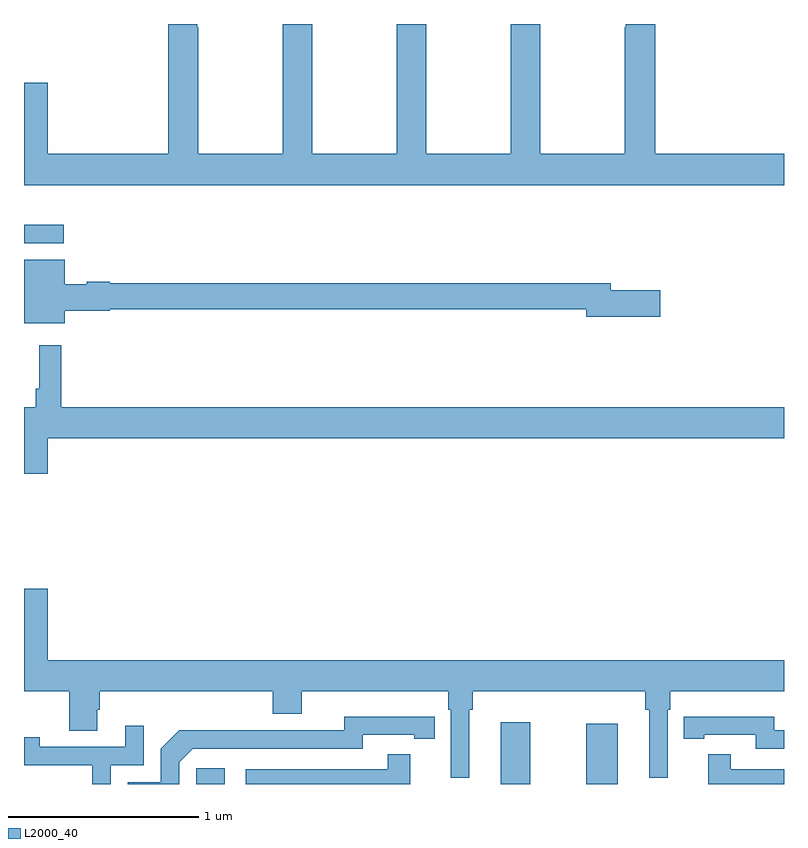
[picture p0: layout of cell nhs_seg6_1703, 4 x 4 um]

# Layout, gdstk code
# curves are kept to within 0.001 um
import gdstk
lib = gdstk.Library(unit=1e-6, precision=1e-09)
def R(c, l, rs):  # rectangles x0, y0, x1, y1
    for r in rs: c.add(gdstk.rectangle(r[:2], r[2:], *l))
def P(c, l, *ps):  # polygons
    for p in ps: c.add(gdstk.Polygon(p, *l))
L2000_40 = (2000, 40)

nhs_seg6_1703 = lib.new_cell('nhs_seg6_1703')
R(nhs_seg6_1703, L2000_40, [(213.906,961.5,214.057,961.582), (215.51,961.5,215.664,961.825), (215.96,961.5,216.124,961.816), (213,964.347,213.208,964.443)])
P(nhs_seg6_1703, L2000_40, [(217,964.816),(216.323,964.816),(216.323,965.5),(216.167,965.5),(216.167,965.483),(216.163,965.483),(216.163,964.816),(215.718,964.816),(215.718,965.5),(215.563,965.5),(215.563,964.816),(215.118,964.816),(215.118,965.5),(214.963,965.5),(214.963,964.816),(214.518,964.816),(214.518,965.5),(214.363,965.5),(214.363,964.816),(213.918,964.816),(213.918,965.483),(213.913,965.483),(213.913,965.5),(213.758,965.5),(213.758,964.816),(213.124,964.816),(213.124,965.191),(213,965.191),(213,964.652),(217,964.652)],
  [(213.214,963.992),(213.45,963.992),(213.45,964),(215.96,964),(215.96,963.958),(216.349,963.958),(216.349,964.1),(216.088,964.1),(216.088,964.136),(213.45,964.136),(213.45,964.144),(213.33,964.144),(213.33,964.129),(213.214,964.129),(213.214,964.258),(213,964.258),(213,963.926),(213.214,963.926)],
  [(213.124,963.32),(217,963.32),(217,963.484),(213.197,963.484),(213.197,963.808),(213.081,963.808),(213.081,963.58),(213.061,963.58),(213.061,963.484),(213,963.484),(213,963.132),(213.124,963.132)],
  [(213.124,962.527),(213,962.527),(213,961.988),(213.238,961.988),(213.238,961.78),(213.385,961.78),(213.385,961.89),(213.398,961.89),(213.398,961.988),(214.31,961.988),(214.31,961.871),(214.462,961.871),(214.462,961.988),(215.234,961.988),(215.234,961.892),(215.247,961.892),(215.247,961.533),(215.344,961.533),(215.344,961.892),(215.363,961.892),(215.363,961.988),(216.271,961.988),(216.271,961.892),(216.29,961.892),(216.29,961.533),(216.387,961.533),(216.387,961.892),(216.401,961.892),(216.401,961.988),(217,961.988),(217,962.152),(213.124,962.152)],
  [(217,961.782),(216.948,961.782),(216.948,961.855),(216.58,961.855),(216.58,961.854),(216.472,961.854),(216.472,961.738),(216.58,961.738),(216.58,961.758),(216.852,961.758),(216.852,961.686),(217,961.686)],
  [(213.816,961.614),(213.888,961.686),(214.782,961.686),(214.782,961.758),(215.054,961.758),(215.054,961.738),(215.162,961.738),(215.162,961.854),(214.686,961.855),(214.686,961.782),(214.226,961.782),(214.226,961.784),(213.818,961.784),(213.72,961.686),(213.72,961.509),(213.546,961.509),(213.546,961.5),(213.816,961.5)],
  [(213.456,961.599),(213.63,961.599),(213.63,961.807),(213.533,961.807),(213.533,961.695),(213.082,961.695),(213.082,961.747),(213,961.747),(213,961.599),(213.36,961.599),(213.36,961.5),(213.456,961.5)],
  [(215.033,961.657),(214.915,961.657),(214.915,961.578),(214.167,961.578),(214.167,961.5),(215.033,961.5)],
  [(217,961.578),(216.719,961.578),(216.719,961.657),(216.602,961.657),(216.602,961.5),(217,961.5)])

lib.write_gds('nhs_seg6_1703.gds')
